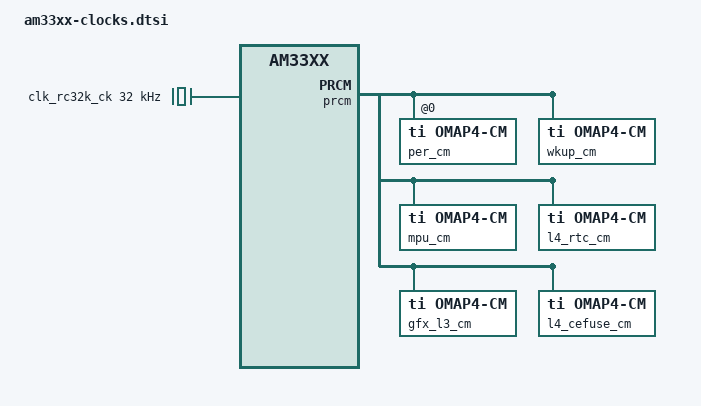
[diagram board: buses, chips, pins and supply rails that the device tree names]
// SPDX-License-Identifier: GPL-2.0-only
/*
 * Device Tree Source for AM33xx clock data
 *
 * Copyright (C) 2013 Texas Instruments, Inc.
 */
&scm_clocks {
	sys_clkin_ck: clock-sys-clkin-22@40 {
		#clock-cells = <0>;
		compatible = "ti,mux-clock";
		clock-output-names = "sys_clkin_ck";
		clocks = <&virt_19200000_ck>, <&virt_24000000_ck>, <&virt_25000000_ck>, <&virt_26000000_ck>;
		ti,bit-shift = <22>;
		reg = <0x0040>;
	};

	adc_tsc_fck: clock-adc-tsc-fck {
		#clock-cells = <0>;
		compatible = "fixed-factor-clock";
		clock-output-names = "adc_tsc_fck";
		clocks = <&sys_clkin_ck>;
		clock-mult = <1>;
		clock-div = <1>;
	};

	dcan0_fck: clock-dcan0-fck {
		#clock-cells = <0>;
		compatible = "fixed-factor-clock";
		clock-output-names = "dcan0_fck";
		clocks = <&sys_clkin_ck>;
		clock-mult = <1>;
		clock-div = <1>;
	};

	dcan1_fck: clock-dcan1-fck {
		#clock-cells = <0>;
		compatible = "fixed-factor-clock";
		clock-output-names = "dcan1_fck";
		clocks = <&sys_clkin_ck>;
		clock-mult = <1>;
		clock-div = <1>;
	};

	mcasp0_fck: clock-mcasp0-fck {
		#clock-cells = <0>;
		compatible = "fixed-factor-clock";
		clock-output-names = "mcasp0_fck";
		clocks = <&sys_clkin_ck>;
		clock-mult = <1>;
		clock-div = <1>;
	};

	mcasp1_fck: clock-mcasp1-fck {
		#clock-cells = <0>;
		compatible = "fixed-factor-clock";
		clock-output-names = "mcasp1_fck";
		clocks = <&sys_clkin_ck>;
		clock-mult = <1>;
		clock-div = <1>;
	};

	smartreflex0_fck: clock-smartreflex0-fck {
		#clock-cells = <0>;
		compatible = "fixed-factor-clock";
		clock-output-names = "smartreflex0_fck";
		clocks = <&sys_clkin_ck>;
		clock-mult = <1>;
		clock-div = <1>;
	};

	smartreflex1_fck: clock-smartreflex1-fck {
		#clock-cells = <0>;
		compatible = "fixed-factor-clock";
		clock-output-names = "smartreflex1_fck";
		clocks = <&sys_clkin_ck>;
		clock-mult = <1>;
		clock-div = <1>;
	};

	sha0_fck: clock-sha0-fck {
		#clock-cells = <0>;
		compatible = "fixed-factor-clock";
		clock-output-names = "sha0_fck";
		clocks = <&sys_clkin_ck>;
		clock-mult = <1>;
		clock-div = <1>;
	};

	aes0_fck: clock-aes0-fck {
		#clock-cells = <0>;
		compatible = "fixed-factor-clock";
		clock-output-names = "aes0_fck";
		clocks = <&sys_clkin_ck>;
		clock-mult = <1>;
		clock-div = <1>;
	};

	rng_fck: clock-rng-fck {
		#clock-cells = <0>;
		compatible = "fixed-factor-clock";
		clock-output-names = "rng_fck";
		clocks = <&sys_clkin_ck>;
		clock-mult = <1>;
		clock-div = <1>;
	};

	clock@664 {
		compatible = "ti,clksel";
		reg = <0x664>;
		#clock-cells = <2>;
		#address-cells = <1>;
		#size-cells = <0>;

		ehrpwm0_tbclk: clock-ehrpwm0-tbclk@0 {
			reg = <0>;
			#clock-cells = <0>;
			compatible = "ti,gate-clock";
			clock-output-names = "ehrpwm0_tbclk";
			clocks = <&l4ls_gclk>;
		};

		ehrpwm1_tbclk: clock-ehrpwm1-tbclk@1 {
			reg = <1>;
			#clock-cells = <0>;
			compatible = "ti,gate-clock";
			clock-output-names = "ehrpwm1_tbclk";
			clocks = <&l4ls_gclk>;
		};

		ehrpwm2_tbclk: clock-ehrpwm2-tbclk@2 {
			reg = <2>;
			#clock-cells = <0>;
			compatible = "ti,gate-clock";
			clock-output-names = "ehrpwm2_tbclk";
			clocks = <&l4ls_gclk>;
		};
	};
};
&prcm_clocks {
	clk_32768_ck: clock-clk-32768 {
		#clock-cells = <0>;
		compatible = "fixed-clock";
		clock-output-names = "clk_32768_ck";
		clock-frequency = <32768>;
	};

	clk_rc32k_ck: clock-clk-rc32k {
		#clock-cells = <0>;
		compatible = "fixed-clock";
		clock-output-names = "clk_rc32k_ck";
		clock-frequency = <32000>;
	};

	virt_19200000_ck: clock-virt-19200000 {
		#clock-cells = <0>;
		compatible = "fixed-clock";
		clock-output-names = "virt_19200000_ck";
		clock-frequency = <19200000>;
	};

	virt_24000000_ck: clock-virt-24000000 {
		#clock-cells = <0>;
		compatible = "fixed-clock";
		clock-output-names = "virt_24000000_ck";
		clock-frequency = <24000000>;
	};

	virt_25000000_ck: clock-virt-25000000 {
		#clock-cells = <0>;
		compatible = "fixed-clock";
		clock-output-names = "virt_25000000_ck";
		clock-frequency = <25000000>;
	};

	virt_26000000_ck: clock-virt-26000000 {
		#clock-cells = <0>;
		compatible = "fixed-clock";
		clock-output-names = "virt_26000000_ck";
		clock-frequency = <26000000>;
	};

	tclkin_ck: clock-tclkin {
		#clock-cells = <0>;
		compatible = "fixed-clock";
		clock-output-names = "tclkin_ck";
		clock-frequency = <12000000>;
	};

	dpll_core_ck: clock@490 {
		#clock-cells = <0>;
		compatible = "ti,am3-dpll-core-clock";
		clock-output-names = "dpll_core_ck";
		clocks = <&sys_clkin_ck>, <&sys_clkin_ck>;
		reg = <0x0490>, <0x045c>, <0x0468>, <0x0460>, <0x0464>;
	};

	dpll_core_x2_ck: clock-dpll-core-x2 {
		#clock-cells = <0>;
		compatible = "ti,am3-dpll-x2-clock";
		clock-output-names = "dpll_core_x2_ck";
		clocks = <&dpll_core_ck>;
	};

	dpll_core_m4_ck: clock-dpll-core-m4@480 {
		#clock-cells = <0>;
		compatible = "ti,divider-clock";
		clock-output-names = "dpll_core_m4_ck";
		clocks = <&dpll_core_x2_ck>;
		ti,max-div = <31>;
		reg = <0x0480>;
		ti,index-starts-at-one;
	};

	dpll_core_m5_ck: clock-dpll-core-m5@484 {
		#clock-cells = <0>;
		compatible = "ti,divider-clock";
		clock-output-names = "dpll_core_m5_ck";
		clocks = <&dpll_core_x2_ck>;
		ti,max-div = <31>;
		reg = <0x0484>;
		ti,index-starts-at-one;
	};

	dpll_core_m6_ck: clock-dpll-core-m6@4d8 {
		#clock-cells = <0>;
		compatible = "ti,divider-clock";
		clock-output-names = "dpll_core_m6_ck";
		clocks = <&dpll_core_x2_ck>;
		ti,max-div = <31>;
		reg = <0x04d8>;
		ti,index-starts-at-one;
	};

	dpll_mpu_ck: clock@488 {
		#clock-cells = <0>;
		compatible = "ti,am3-dpll-clock";
		clock-output-names = "dpll_mpu_ck";
		clocks = <&sys_clkin_ck>, <&sys_clkin_ck>;
		reg = <0x0488>, <0x0420>, <0x042c>, <0x0424>, <0x0428>;
	};

	dpll_mpu_m2_ck: clock-dpll-mpu-m2@4a8 {
		#clock-cells = <0>;
		compatible = "ti,divider-clock";
		clock-output-names = "dpll_mpu_m2_ck";
		clocks = <&dpll_mpu_ck>;
		ti,max-div = <31>;
		reg = <0x04a8>;
		ti,index-starts-at-one;
	};

	dpll_ddr_ck: clock@494 {
		#clock-cells = <0>;
		compatible = "ti,am3-dpll-no-gate-clock";
		clock-output-names = "dpll_ddr_ck";
		clocks = <&sys_clkin_ck>, <&sys_clkin_ck>;
		reg = <0x0494>, <0x0434>, <0x0440>, <0x0438>, <0x043c>;
	};

	dpll_ddr_m2_ck: clock-dpll-ddr-m2@4a0 {
		#clock-cells = <0>;
		compatible = "ti,divider-clock";
		clock-output-names = "dpll_ddr_m2_ck";
		clocks = <&dpll_ddr_ck>;
		ti,max-div = <31>;
		reg = <0x04a0>;
		ti,index-starts-at-one;
	};

	dpll_ddr_m2_div2_ck: clock-dpll-ddr-m2-div2 {
		#clock-cells = <0>;
		compatible = "fixed-factor-clock";
		clock-output-names = "dpll_ddr_m2_div2_ck";
		clocks = <&dpll_ddr_m2_ck>;
		clock-mult = <1>;
		clock-div = <2>;
	};

	dpll_disp_ck: clock@498 {
		#clock-cells = <0>;
		compatible = "ti,am3-dpll-no-gate-clock";
		clock-output-names = "dpll_disp_ck";
		clocks = <&sys_clkin_ck>, <&sys_clkin_ck>;
		reg = <0x0498>, <0x0448>, <0x0454>, <0x044c>, <0x0450>;
	};

	dpll_disp_m2_ck: clock-dpll-disp-m2@4a4 {
		#clock-cells = <0>;
		compatible = "ti,divider-clock";
		clock-output-names = "dpll_disp_m2_ck";
		clocks = <&dpll_disp_ck>;
		ti,max-div = <31>;
		reg = <0x04a4>;
		ti,index-starts-at-one;
		ti,set-rate-parent;
	};

	dpll_per_ck: clock@48c {
		#clock-cells = <0>;
		compatible = "ti,am3-dpll-no-gate-j-type-clock";
		clock-output-names = "dpll_per_ck";
		clocks = <&sys_clkin_ck>, <&sys_clkin_ck>;
		reg = <0x048c>, <0x0470>, <0x049c>, <0x0474>, <0x0478>;
	};

	dpll_per_m2_ck: clock-dpll-per-m2@4ac {
		#clock-cells = <0>;
		compatible = "ti,divider-clock";
		clock-output-names = "dpll_per_m2_ck";
		clocks = <&dpll_per_ck>;
		ti,max-div = <31>;
		reg = <0x04ac>;
		ti,index-starts-at-one;
	};

	dpll_per_m2_div4_wkupdm_ck: clock-dpll-per-m2-div4-wkupdm {
		#clock-cells = <0>;
		compatible = "fixed-factor-clock";
		clock-output-names = "dpll_per_m2_div4_wkupdm_ck";
		clocks = <&dpll_per_m2_ck>;
		clock-mult = <1>;
		clock-div = <4>;
	};

	dpll_per_m2_div4_ck: clock-dpll-per-m2-div4 {
		#clock-cells = <0>;
		compatible = "fixed-factor-clock";
		clock-output-names = "dpll_per_m2_div4_ck";
		clocks = <&dpll_per_m2_ck>;
		clock-mult = <1>;
		clock-div = <4>;
	};

	clk_24mhz: clock-clk-24mhz {
		#clock-cells = <0>;
		compatible = "fixed-factor-clock";
		clock-output-names = "clk_24mhz";
		clocks = <&dpll_per_m2_ck>;
		clock-mult = <1>;
		clock-div = <8>;
	};

	clkdiv32k_ck: clock-clkdiv32k {
		#clock-cells = <0>;
		compatible = "fixed-factor-clock";
		clock-output-names = "clkdiv32k_ck";
		clocks = <&clk_24mhz>;
		clock-mult = <1>;
		clock-div = <732>;
	};

	l3_gclk: clock-l3-gclk {
		#clock-cells = <0>;
		compatible = "fixed-factor-clock";
		clock-output-names = "l3_gclk";
		clocks = <&dpll_core_m4_ck>;
		clock-mult = <1>;
		clock-div = <1>;
	};

	pruss_ocp_gclk: clock-pruss-ocp-gclk@530 {
		#clock-cells = <0>;
		compatible = "ti,mux-clock";
		clock-output-names = "pruss_ocp_gclk";
		clocks = <&l3_gclk>, <&dpll_disp_m2_ck>;
		reg = <0x0530>;
	};

	mmu_fck: clock-mmu-fck-1@914 {
		#clock-cells = <0>;
		compatible = "ti,gate-clock";
		clock-output-names = "mmu_fck";
		clocks = <&dpll_core_m4_ck>;
		ti,bit-shift = <1>;
		reg = <0x0914>;
	};

	timer1_fck: clock-timer1-fck@528 {
		#clock-cells = <0>;
		compatible = "ti,mux-clock";
		clock-output-names = "timer1_fck";
		clocks = <&sys_clkin_ck>, <&clk_24mhz_clkctrl AM3_CLK_24MHZ_CLKDIV32K_CLKCTRL 0>, <&tclkin_ck>, <&clk_rc32k_ck>, <&clk_32768_ck>;
		reg = <0x0528>;
	};

	timer2_fck: clock-timer2-fck@508 {
		#clock-cells = <0>;
		compatible = "ti,mux-clock";
		clock-output-names = "timer2_fck";
		clocks = <&tclkin_ck>, <&sys_clkin_ck>, <&clk_24mhz_clkctrl AM3_CLK_24MHZ_CLKDIV32K_CLKCTRL 0>;
		reg = <0x0508>;
	};

	timer3_fck: clock-timer3-fck@50c {
		#clock-cells = <0>;
		compatible = "ti,mux-clock";
		clock-output-names = "timer3_fck";
		clocks = <&tclkin_ck>, <&sys_clkin_ck>, <&clk_24mhz_clkctrl AM3_CLK_24MHZ_CLKDIV32K_CLKCTRL 0>;
		reg = <0x050c>;
	};

	timer4_fck: clock-timer4-fck@510 {
		#clock-cells = <0>;
		compatible = "ti,mux-clock";
		clock-output-names = "timer4_fck";
		clocks = <&tclkin_ck>, <&sys_clkin_ck>, <&clk_24mhz_clkctrl AM3_CLK_24MHZ_CLKDIV32K_CLKCTRL 0>;
		reg = <0x0510>;
	};

	timer5_fck: clock-timer5-fck@518 {
		#clock-cells = <0>;
		compatible = "ti,mux-clock";
		clock-output-names = "timer5_fck";
		clocks = <&tclkin_ck>, <&sys_clkin_ck>, <&clk_24mhz_clkctrl AM3_CLK_24MHZ_CLKDIV32K_CLKCTRL 0>;
		reg = <0x0518>;
	};

	timer6_fck: clock-timer6-fck@51c {
		#clock-cells = <0>;
		compatible = "ti,mux-clock";
		clock-output-names = "timer6_fck";
		clocks = <&tclkin_ck>, <&sys_clkin_ck>, <&clk_24mhz_clkctrl AM3_CLK_24MHZ_CLKDIV32K_CLKCTRL 0>;
		reg = <0x051c>;
	};

	timer7_fck: clock-timer7-fck@504 {
		#clock-cells = <0>;
		compatible = "ti,mux-clock";
		clock-output-names = "timer7_fck";
		clocks = <&tclkin_ck>, <&sys_clkin_ck>, <&clk_24mhz_clkctrl AM3_CLK_24MHZ_CLKDIV32K_CLKCTRL 0>;
		reg = <0x0504>;
	};

	usbotg_fck: clock-usbotg-fck-8@47c {
		#clock-cells = <0>;
		compatible = "ti,gate-clock";
		clock-output-names = "usbotg_fck";
		clocks = <&dpll_per_ck>;
		ti,bit-shift = <8>;
		reg = <0x047c>;
	};

	dpll_core_m4_div2_ck: clock-dpll-core-m4-div2 {
		#clock-cells = <0>;
		compatible = "fixed-factor-clock";
		clock-output-names = "dpll_core_m4_div2_ck";
		clocks = <&dpll_core_m4_ck>;
		clock-mult = <1>;
		clock-div = <2>;
	};

	ieee5000_fck: clock-ieee5000-fck-1@e4 {
		#clock-cells = <0>;
		compatible = "ti,gate-clock";
		clock-output-names = "ieee5000_fck";
		clocks = <&dpll_core_m4_div2_ck>;
		ti,bit-shift = <1>;
		reg = <0x00e4>;
	};

	wdt1_fck: clock-wdt1-fck@538 {
		#clock-cells = <0>;
		compatible = "ti,mux-clock";
		clock-output-names = "wdt1_fck";
		clocks = <&clk_rc32k_ck>, <&clk_24mhz_clkctrl AM3_CLK_24MHZ_CLKDIV32K_CLKCTRL 0>;
		reg = <0x0538>;
	};

	l4_rtc_gclk: clock-l4-rtc-gclk {
		#clock-cells = <0>;
		compatible = "fixed-factor-clock";
		clock-output-names = "l4_rtc_gclk";
		clocks = <&dpll_core_m4_ck>;
		clock-mult = <1>;
		clock-div = <2>;
	};

	l4hs_gclk: clock-l4hs-gclk {
		#clock-cells = <0>;
		compatible = "fixed-factor-clock";
		clock-output-names = "l4hs_gclk";
		clocks = <&dpll_core_m4_ck>;
		clock-mult = <1>;
		clock-div = <1>;
	};

	l3s_gclk: clock-l3s-gclk {
		#clock-cells = <0>;
		compatible = "fixed-factor-clock";
		clock-output-names = "l3s_gclk";
		clocks = <&dpll_core_m4_div2_ck>;
		clock-mult = <1>;
		clock-div = <1>;
	};

	l4fw_gclk: clock-l4fw-gclk {
		#clock-cells = <0>;
		compatible = "fixed-factor-clock";
		clock-output-names = "l4fw_gclk";
		clocks = <&dpll_core_m4_div2_ck>;
		clock-mult = <1>;
		clock-div = <1>;
	};

	l4ls_gclk: clock-l4ls-gclk {
		#clock-cells = <0>;
		compatible = "fixed-factor-clock";
		clock-output-names = "l4ls_gclk";
		clocks = <&dpll_core_m4_div2_ck>;
		clock-mult = <1>;
		clock-div = <1>;
	};

	sysclk_div_ck: clock-sysclk-div {
		#clock-cells = <0>;
		compatible = "fixed-factor-clock";
		clock-output-names = "sysclk_div_ck";
		clocks = <&dpll_core_m4_ck>;
		clock-mult = <1>;
		clock-div = <1>;
	};

	cpsw_125mhz_gclk: clock-cpsw-125mhz-gclk {
		#clock-cells = <0>;
		compatible = "fixed-factor-clock";
		clock-output-names = "cpsw_125mhz_gclk";
		clocks = <&dpll_core_m5_ck>;
		clock-mult = <1>;
		clock-div = <2>;
	};

	cpsw_cpts_rft_clk: clock-cpsw-cpts-rft@520 {
		#clock-cells = <0>;
		compatible = "ti,mux-clock";
		clock-output-names = "cpsw_cpts_rft_clk";
		clocks = <&dpll_core_m5_ck>, <&dpll_core_m4_ck>;
		reg = <0x0520>;
	};

	gpio0_dbclk_mux_ck: clock-gpio0-dbclk-mux@53c {
		#clock-cells = <0>;
		compatible = "ti,mux-clock";
		clock-output-names = "gpio0_dbclk_mux_ck";
		clocks = <&clk_rc32k_ck>, <&clk_32768_ck>, <&clk_24mhz_clkctrl AM3_CLK_24MHZ_CLKDIV32K_CLKCTRL 0>;
		reg = <0x053c>;
	};

	lcd_gclk: clock-lcd-gclk@534 {
		#clock-cells = <0>;
		compatible = "ti,mux-clock";
		clock-output-names = "lcd_gclk";
		clocks = <&dpll_disp_m2_ck>, <&dpll_core_m5_ck>, <&dpll_per_m2_ck>;
		reg = <0x0534>;
		ti,set-rate-parent;
	};

	mmc_clk: clock-mmc {
		#clock-cells = <0>;
		compatible = "fixed-factor-clock";
		clock-output-names = "mmc_clk";
		clocks = <&dpll_per_m2_ck>;
		clock-mult = <1>;
		clock-div = <2>;
	};

	clock@52c {
		compatible = "ti,clksel";
		reg = <0x52c>;
		#clock-cells = <2>;
		#address-cells = <1>;
		#size-cells = <0>;

		gfx_fclk_clksel_ck: clock-gfx-fclk-clksel@1 {
			reg = <1>;
			#clock-cells = <0>;
			compatible = "ti,mux-clock";
			clock-output-names = "gfx_fclk_clksel_ck";
			clocks = <&dpll_core_m4_ck>, <&dpll_per_m2_ck>;
		};

		gfx_fck_div_ck: clock-gfx-fck-div@0 {
			reg = <0>;
			#clock-cells = <0>;
			compatible = "ti,divider-clock";
			clock-output-names = "gfx_fck_div_ck";
			clocks = <&gfx_fclk_clksel_ck>;
			ti,max-div = <2>;
		};
	};

	clock@700 {
		compatible = "ti,clksel";
		reg = <0x700>;
		#clock-cells = <2>;
		#address-cells = <1>;
		#size-cells = <0>;

		sysclkout_pre_ck: clock-sysclkout-pre@0 {
			reg = <0>;
			#clock-cells = <0>;
			compatible = "ti,mux-clock";
			clock-output-names = "sysclkout_pre_ck";
			clocks = <&clk_32768_ck>, <&l3_gclk>, <&dpll_ddr_m2_ck>, <&dpll_per_m2_ck>, <&lcd_gclk>;
		};

		clkout2_div_ck: clock-clkout2-div@3 {
			reg = <3>;
			#clock-cells = <0>;
			compatible = "ti,divider-clock";
			clock-output-names = "clkout2_div_ck";
			clocks = <&sysclkout_pre_ck>;
			ti,max-div = <8>;
		};

		clkout2_ck: clock-clkout2@7 {
			reg = <7>;
			#clock-cells = <0>;
			compatible = "ti,gate-clock";
			clock-output-names = "clkout2_ck";
			clocks = <&clkout2_div_ck>;
		};
	};
};

&prcm {
	per_cm: clock@0 {
		compatible = "ti,omap4-cm";
		clock-output-names = "per_cm";
		reg = <0x0 0x400>;
		#address-cells = <1>;
		#size-cells = <1>;
		ranges = <0 0x0 0x400>;

		l4ls_clkctrl: clock@38 {
			compatible = "ti,clkctrl";
			clock-output-names = "l4ls_clkctrl";
			reg = <0x38 0x2c>, <0x6c 0x28>, <0xac 0xc>, <0xc0 0x1c>, <0xec 0xc>, <0x10c 0x8>, <0x130 0x4>;
			#clock-cells = <2>;
		};

		l3s_clkctrl: clock@1c {
			compatible = "ti,clkctrl";
			clock-output-names = "l3s_clkctrl";
			reg = <0x1c 0x4>, <0x30 0x8>, <0x68 0x4>, <0xf8 0x4>;
			#clock-cells = <2>;
		};

		l3_clkctrl: clock@24 {
			compatible = "ti,clkctrl";
			clock-output-names = "l3_clkctrl";
			reg = <0x24 0xc>, <0x94 0x10>, <0xbc 0x4>, <0xdc 0x8>, <0xfc 0x8>;
			#clock-cells = <2>;
		};

		l4hs_clkctrl: clock@120 {
			compatible = "ti,clkctrl";
			clock-output-names = "l4hs_clkctrl";
			reg = <0x120 0x4>;
			#clock-cells = <2>;
		};

		pruss_ocp_clkctrl: clock@e8 {
			compatible = "ti,clkctrl";
			clock-output-names = "pruss_ocp_clkctrl";
			reg = <0xe8 0x4>;
			#clock-cells = <2>;
		};

		cpsw_125mhz_clkctrl: clock@0 {
			compatible = "ti,clkctrl";
			clock-output-names = "cpsw_125mhz_clkctrl";
			reg = <0x0 0x18>;
			#clock-cells = <2>;
		};

		lcdc_clkctrl: clock@18 {
			compatible = "ti,clkctrl";
			clock-output-names = "lcdc_clkctrl";
			reg = <0x18 0x4>;
			#clock-cells = <2>;
		};

		clk_24mhz_clkctrl: clock@14c {
			compatible = "ti,clkctrl";
			clock-output-names = "clk_24mhz_clkctrl";
			reg = <0x14c 0x4>;
			#clock-cells = <2>;
		};
	};

	wkup_cm: clock@400 {
		compatible = "ti,omap4-cm";
		clock-output-names = "wkup_cm";
		reg = <0x400 0x100>;
		#address-cells = <1>;
		#size-cells = <1>;
		ranges = <0 0x400 0x100>;

		l4_wkup_clkctrl: clock@0 {
			compatible = "ti,clkctrl";
			clock-output-names = "l4_wkup_clkctrl";
			reg = <0x0 0x10>, <0xb4 0x24>;
			#clock-cells = <2>;
		};

		l3_aon_clkctrl: clock@14 {
			compatible = "ti,clkctrl";
			clock-output-names = "l3_aon_clkctrl";
			reg = <0x14 0x4>;
			#clock-cells = <2>;
		};

		l4_wkup_aon_clkctrl: clock@b0 {
			compatible = "ti,clkctrl";
			clock-output-names = "l4_wkup_aon_clkctrl";
			reg = <0xb0 0x4>;
			#clock-cells = <2>;
		};
	};

	mpu_cm: clock@600 {
		compatible = "ti,omap4-cm";
		clock-output-names = "mpu_cm";
		reg = <0x600 0x100>;
		#address-cells = <1>;
		#size-cells = <1>;
		ranges = <0 0x600 0x100>;

		mpu_clkctrl: clock@0 {
			compatible = "ti,clkctrl";
			clock-output-names = "mpu_clkctrl";
			reg = <0x0 0x8>;
			#clock-cells = <2>;
		};
	};

	l4_rtc_cm: clock@800 {
		compatible = "ti,omap4-cm";
		clock-output-names = "l4_rtc_cm";
		reg = <0x800 0x100>;
		#address-cells = <1>;
		#size-cells = <1>;
		ranges = <0 0x800 0x100>;

		l4_rtc_clkctrl: clock@0 {
			compatible = "ti,clkctrl";
			clock-output-names = "l4_rtc_clkctrl";
			reg = <0x0 0x4>;
			#clock-cells = <2>;
		};
	};

	gfx_l3_cm: clock@900 {
		compatible = "ti,omap4-cm";
		clock-output-names = "gfx_l3_cm";
		reg = <0x900 0x100>;
		#address-cells = <1>;
		#size-cells = <1>;
		ranges = <0 0x900 0x100>;

		gfx_l3_clkctrl: clock@0 {
			compatible = "ti,clkctrl";
			clock-output-names = "gfx_l3_clkctrl";
			reg = <0x0 0x8>;
			#clock-cells = <2>;
		};
	};

	l4_cefuse_cm: clock@a00 {
		compatible = "ti,omap4-cm";
		clock-output-names = "l4_cefuse_cm";
		reg = <0xa00 0x100>;
		#address-cells = <1>;
		#size-cells = <1>;
		ranges = <0 0xa00 0x100>;

		l4_cefuse_clkctrl: clock@0 {
			compatible = "ti,clkctrl";
			clock-output-names = "l4_cefuse_clkctrl";
			reg = <0x0 0x24>;
			#clock-cells = <2>;
		};
	};
};
